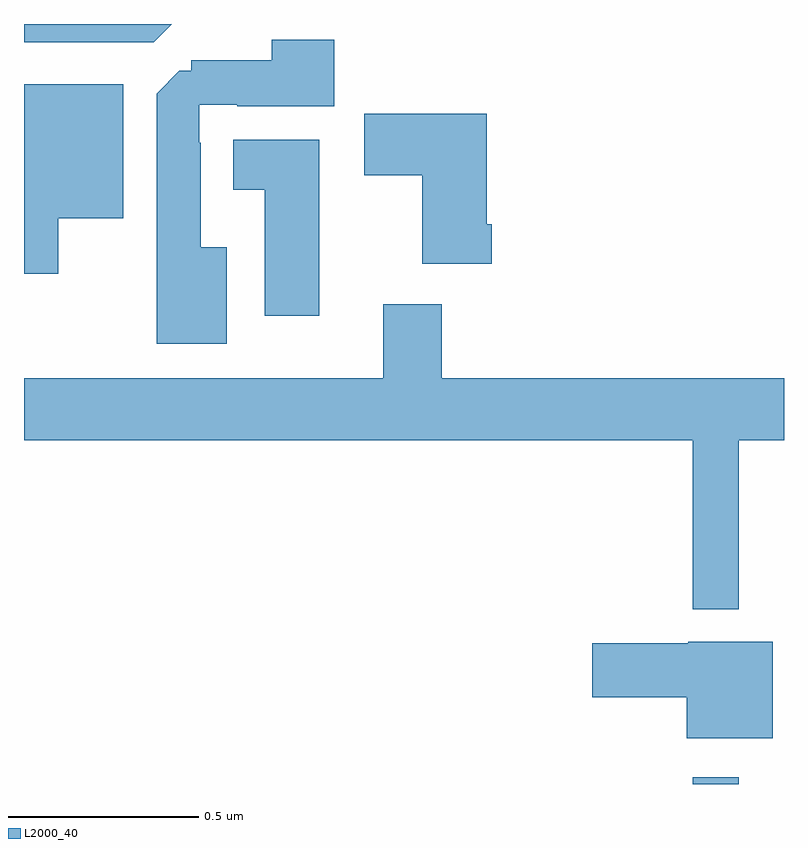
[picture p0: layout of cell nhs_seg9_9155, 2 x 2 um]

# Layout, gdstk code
import gdstk
lib = gdstk.Library(unit=1e-6, precision=1e-09)
def R(c, l, rs):  # rectangles x0, y0, x1, y1
    for r in rs: c.add(gdstk.rectangle(r[:2], r[2:], *l))
def P(c, l, *ps):  # polygons
    for p in ps: c.add(gdstk.Polygon(p, *l))
L2000_40 = (2000, 40)

nhs_seg9_9155 = lib.new_cell('nhs_seg9_9155')
R(nhs_seg9_9155, L2000_40, [(227.76,1211.5,227.881,1211.518)])
P(nhs_seg9_9155, L2000_40, [(226.389,1213.5),(226,1213.5),(226,1213.452),(226.341,1213.452)],
  [(226.534,1212.913),(226.465,1212.913),(226.465,1213.187),(226.461,1213.187),(226.461,1213.287),(226.561,1213.287),(226.561,1213.283),(226.816,1213.283),(226.816,1213.459),(226.652,1213.459),(226.652,1213.405),(226.44,1213.405),(226.44,1213.377),(226.409,1213.377),(226.349,1213.317),(226.349,1212.659),(226.534,1212.659)],
  [(226.09,1212.989),(226.261,1212.989),(226.261,1213.342),(226,1213.342),(226,1212.843),(226.09,1212.843)],
  [(227.231,1212.973),(227.218,1212.973),(227.218,1213.264),(226.896,1213.264),(226.896,1213.102),(227.048,1213.102),(227.048,1212.869),(227.231,1212.869)],
  [(226.777,1213.195),(226.55,1213.195),(226.55,1213.064),(226.634,1213.064),(226.634,1212.732),(226.777,1212.732)],
  [(227.881,1212.404),(228,1212.404),(228,1212.568),(227.099,1212.568),(227.099,1212.763),(226.946,1212.763),(226.946,1212.568),(226,1212.568),(226,1212.404),(227.76,1212.404),(227.76,1211.96),(227.881,1211.96)],
  [(227.971,1211.875),(227.748,1211.875),(227.748,1211.87),(227.496,1211.87),(227.496,1211.728),(227.744,1211.728),(227.744,1211.621),(227.971,1211.621)])

lib.write_gds('nhs_seg9_9155.gds')
